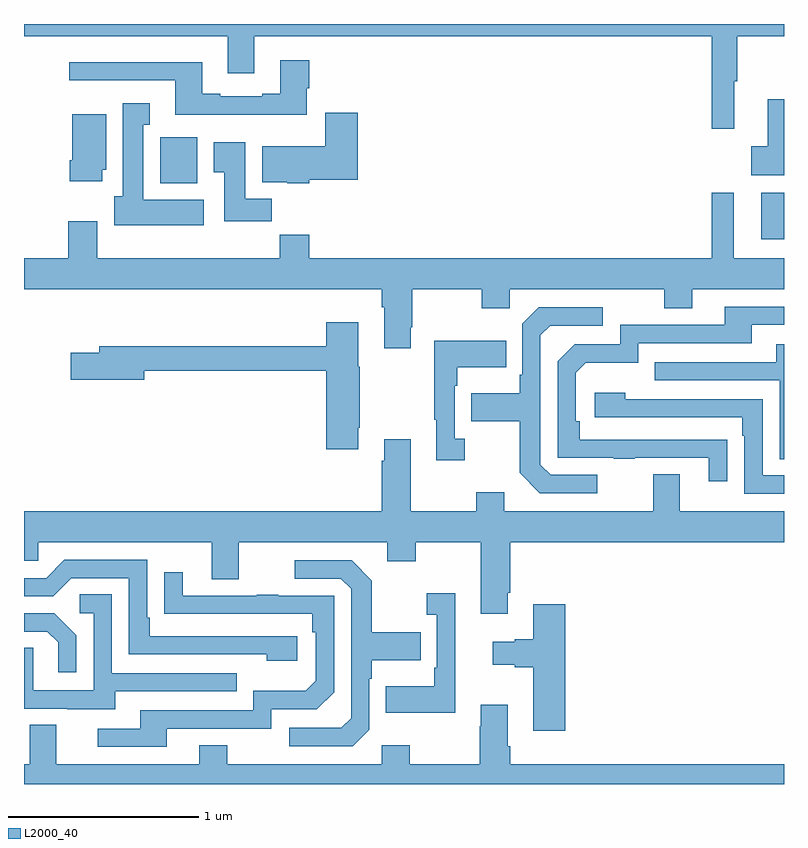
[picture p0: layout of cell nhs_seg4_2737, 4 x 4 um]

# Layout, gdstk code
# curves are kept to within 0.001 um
import gdstk
lib = gdstk.Library(unit=1e-6, precision=1e-09)
def R(c, l, rs):  # rectangles x0, y0, x1, y1
    for r in rs: c.add(gdstk.rectangle(r[:2], r[2:], *l))
def P(c, l, *ps):  # polygons
    for p in ps: c.add(gdstk.Polygon(p, *l))
L2000_40 = (2000, 40)

nhs_seg4_2737 = lib.new_cell('nhs_seg4_2737')
R(nhs_seg4_2737, L2000_40, [(258.881,779.768,259,780.013), (255.716,780.062,255.913,780.304)])
P(nhs_seg4_2737, L2000_40, [(258.737,780.6),(258.755,780.6),(258.755,780.836),(259,780.836),(259,780.9),(255,780.9),(255,780.836),(256.073,780.836),(256.073,780.642),(256.213,780.642),(256.213,780.836),(258.619,780.836),(258.619,780.348),(258.737,780.348)],
  [(256.489,780.561),(256.502,780.561),(256.502,780.709),(256.349,780.709),(256.349,780.532),(256.253,780.532),(256.253,780.519),(256.033,780.519),(256.033,780.532),(255.937,780.532),(255.937,780.7),(255.237,780.7),(255.237,780.603),(255.797,780.603),(255.797,780.422),(256.489,780.422)],
  [(259,780.505),(258.914,780.505),(258.914,780.257),(258.828,780.257),(258.828,780.104),(259,780.104)],
  [(255.946,779.974),(255.628,779.974),(255.628,780.371),(255.661,780.371),(255.661,780.484),(255.521,780.484),(255.521,779.994),(255.476,779.994),(255.476,779.84),(255.946,779.84)],
  [(256.5,780.08),(256.757,780.08),(256.757,780.433),(256.586,780.433),(256.586,780.256),(256.253,780.256),(256.253,780.068),(256.386,780.068),(256.386,780.062),(256.5,780.062)],
  [(255.412,780.132),(255.433,780.132),(255.433,780.424),(255.254,780.424),(255.254,780.184),(255.242,780.184),(255.242,780.072),(255.412,780.072)],
  [(256.304,779.98),(256.165,779.98),(256.165,780.277),(255.998,780.277),(255.998,780.121),(256.055,780.121),(256.055,779.862),(256.304,779.862)],
  [(257.035,779.305),(257.043,779.305),(257.043,779.504),(257.41,779.504),(257.41,779.405),(257.556,779.405),(257.556,779.504),(258.37,779.504),(258.37,779.405),(258.517,779.405),(258.517,779.504),(259,779.504),(259,779.668),(258.736,779.668),(258.736,780.013),(258.619,780.013),(258.619,779.668),(256.502,779.668),(256.502,779.792),(256.345,779.792),(256.345,779.668),(255.385,779.668),(255.385,779.863),(255.233,779.863),(255.233,779.668),(255,779.668),(255,779.504),(256.883,779.504),(256.883,779.408),(256.895,779.408),(256.895,779.193),(257.035,779.193)],
  [(258.701,778.712),(257.924,778.713),(257.924,778.81),(257.904,778.81),(257.904,779.064),(257.957,779.117),(258.234,779.117),(258.234,779.22),(258.829,779.22),(258.829,779.316),(259,779.316),(259,779.412),(258.689,779.412),(258.689,779.316),(258.138,779.316),(258.138,779.214),(257.898,779.214),(257.808,779.124),(257.808,778.617),(258.103,778.617),(258.103,778.612),(258.215,778.612),(258.215,778.617),(258.605,778.617),(258.605,778.494),(258.701,778.494)],
  [(258.016,778.527),(257.772,778.527),(257.718,778.581),(257.718,779.262),(257.769,779.313),(258.046,779.313),(258.046,779.409),(257.709,779.409),(257.622,779.322),(257.622,779.053),(257.61,779.053),(257.61,778.957),(257.353,778.957),(257.353,778.81),(257.61,778.81),(257.61,778.537),(257.715,778.431),(258.016,778.431)],
  [(256.759,778.774),(256.767,778.774),(256.767,779.097),(256.759,779.097),(256.759,779.329),(256.592,779.329),(256.592,779.203),(255.395,779.203),(255.395,779.169),(255.246,779.169),(255.246,779.027),(255.634,779.027),(255.634,779.074),(256.592,779.074),(256.592,778.662),(256.759,778.662)],
  [(257.32,778.718),(257.268,778.718),(257.268,778.997),(257.281,778.997),(257.281,779.093),(257.537,779.093),(257.537,779.233),(257.16,779.233),(257.16,778.817),(257.171,778.817),(257.171,778.605),(257.32,778.605)],
  [(259,779.215),(258.959,779.215),(258.959,779.121),(258.319,779.121),(258.319,779.025),(258.978,779.025),(258.978,778.609),(259,778.609)],
  [(259,778.524),(258.888,778.524),(258.888,778.926),(258.164,778.926),(258.164,778.96),(258.003,778.96),(258.003,778.83),(258.779,778.83),(258.779,778.733),(258.792,778.733),(258.792,778.428),(259,778.428)],
  [(257.545,777.907),(257.558,777.907),(257.558,778.172),(259,778.172),(259,778.336),(258.451,778.336),(258.451,778.531),(258.311,778.531),(258.311,778.336),(257.527,778.336),(257.527,778.435),(257.38,778.435),(257.38,778.336),(257.035,778.336),(257.035,778.714),(256.895,778.714),(256.895,778.601),(256.883,778.601),(256.883,778.336),(255,778.336),(255,778.074),(255.075,778.074),(255.075,778.172),(255.989,778.172),(255.989,777.978),(256.129,777.978),(256.129,778.172),(256.913,778.172),(256.913,778.073),(257.061,778.073),(257.061,778.172),(257.405,778.172),(257.405,777.795),(257.545,777.795)],
  [(256.438,777.678),(255.661,777.678),(255.661,777.775),(255.648,777.775),(255.648,778.08),(255.213,778.08),(255.117,777.984),(255,777.984),(255,777.888),(255.153,777.888),(255.249,777.984),(255.552,777.984),(255.552,777.582),(256.277,777.582),(256.277,777.548),(256.438,777.548)],
  [(256.818,777.186),(256.818,777.455),(256.831,777.455),(256.831,777.551),(257.087,777.551),(257.087,777.699),(256.831,777.699),(256.831,777.971),(256.725,778.077),(256.425,778.077),(256.425,777.981),(256.668,777.981),(256.722,777.927),(256.722,777.246),(256.671,777.195),(256.395,777.195),(256.395,777.099),(256.731,777.099)],
  [(255.751,777.192),(256.302,777.192),(256.302,777.294),(256.542,777.294),(256.632,777.384),(256.632,777.891),(256.337,777.891),(256.337,777.896),(256.225,777.896),(256.225,777.891),(255.835,777.891),(255.835,778.015),(255.739,778.015),(255.739,777.796),(256.516,777.795),(256.516,777.698),(256.536,777.698),(256.536,777.444),(256.483,777.391),(256.206,777.391),(256.206,777.288),(255.611,777.288),(255.611,777.192),(255.387,777.192),(255.387,777.096),(255.751,777.096)],
  [(257.27,777.904),(257.121,777.904),(257.121,777.791),(257.172,777.791),(257.172,777.511),(257.16,777.511),(257.16,777.415),(256.903,777.415),(256.903,777.275),(257.27,777.275)],
  [(255.481,777.387),(256.121,777.387),(256.121,777.483),(255.462,777.483),(255.462,777.899),(255.294,777.899),(255.294,777.798),(255.366,777.798),(255.366,777.393),(255.048,777.393),(255.048,777.617),(255,777.617),(255,777.297),(255.227,777.297),(255.227,777.293),(255.481,777.293)],
  [(257.849,777.847),(257.681,777.847),(257.681,777.662),(257.582,777.662),(257.582,777.649),(257.466,777.649),(257.466,777.527),(257.582,777.527),(257.582,777.515),(257.681,777.515),(257.681,777.18),(257.849,777.18)],
  [(255.276,777.682),(255.16,777.798),(255,777.798),(255,777.702),(255.122,777.702),(255.179,777.645),(255.179,777.489),(255.276,777.489)],
  [(259,777.004),(257.558,777.004),(257.558,777.1),(257.545,777.1),(257.545,777.316),(257.405,777.316),(257.405,777.203),(257.398,777.203),(257.398,777.004),(257.031,777.004),(257.031,777.103),(256.884,777.103),(256.884,777.004),(256.071,777.004),(256.071,777.103),(255.923,777.103),(255.923,777.004),(255.169,777.004),(255.169,777.212),(255.029,777.212),(255.029,777.004),(255,777.004),(255,776.9),(259,776.9)])

lib.write_gds('nhs_seg4_2737.gds')
